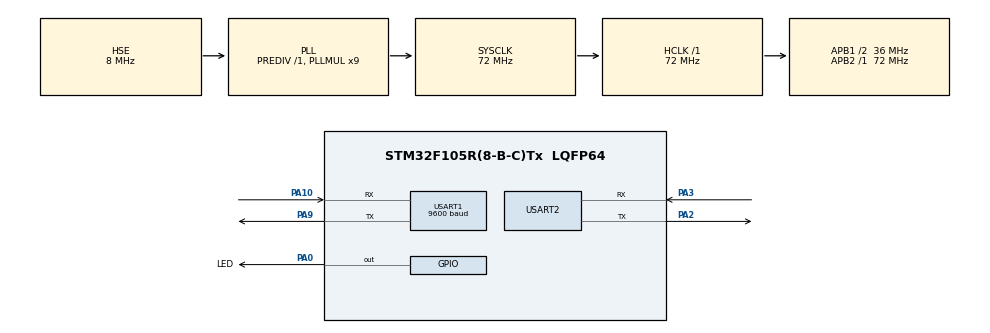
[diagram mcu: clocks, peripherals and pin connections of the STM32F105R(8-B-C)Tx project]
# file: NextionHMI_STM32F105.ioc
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Mcu.Family=STM32F1
Mcu.Name=STM32F105R(8-B-C)Tx
Mcu.Package=LQFP64
NVIC.PriorityGroup=NVIC_PRIORITYGROUP_4
NVIC.TIM7_IRQn=true\:0\:0\:false\:false\:true\:false
NVIC.TimeBase=TIM7_IRQn
NVIC.TimeBaseIP=TIM7
NVIC.USART1_IRQn=true\:0\:0\:false\:false\:true\:true
NVIC.USART2_IRQn=true\:0\:0\:false\:false\:true\:true
PA0-WKUP.GPIO_Label=LED
PA0-WKUP.Signal=GPIO_Output
PA10.Mode=Asynchronous
PA10.Signal=USART1_RX
PA13.Mode=JTAG_5_pins
PA13.Signal=SYS_JTMS-SWDIO
PA14.Mode=JTAG_5_pins
PA14.Signal=SYS_JTCK-SWCLK
PA15.Mode=JTAG_5_pins
PA15.Signal=SYS_JTDI
PA2.Mode=Asynchronous
PA2.Signal=USART2_TX
PA3.Mode=Asynchronous
PA3.Signal=USART2_RX
PA9.Mode=Asynchronous
PA9.Signal=USART1_TX
PB3.Mode=JTAG_5_pins
PB3.Signal=SYS_JTDO
PB4.Mode=JTAG_5_pins
PB4.Signal=SYS_NJTRST
PD0-OSC_IN.Mode=HSE-External-Oscillator
PD0-OSC_IN.Signal=RCC_OSC_IN
PD1-OSC_OUT.Mode=HSE-External-Oscillator
PD1-OSC_OUT.Signal=RCC_OSC_OUT
ProjectManager.HeapSize=0x200
ProjectManager.StackSize=0x400
ProjectManager.TargetToolchain=SW4STM32
RCC.AHBFreq_Value=72000000
RCC.APB1CLKDivider=RCC_HCLK_DIV2
RCC.APB1Freq_Value=36000000
RCC.APB1TimFreq_Value=72000000
RCC.APB2Freq_Value=72000000
RCC.APB2TimFreq_Value=72000000
RCC.HCLKFreq_Value=72000000
RCC.PLLMUL=RCC_PLL_MUL9
RCC.PLLSourceVirtual=RCC_PLLSOURCE_HSE
RCC.SYSCLKFreq_VALUE=72000000
RCC.SYSCLKSource=RCC_SYSCLKSOURCE_PLLCLK
RCC.USBFreq_Value=48000000
USART1.BaudRate=9600
USART1.VirtualMode=VM_ASYNC
USART2.VirtualMode=VM_ASYNC
VP_SYS_VS_tim7.Mode=TIM7
board=custom

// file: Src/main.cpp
/* USER CODE BEGIN Header */
/**
  ******************************************************************************
  * @file           : main.c
  * @brief          : Main program body
  ******************************************************************************
  ** This notice applies to any and all portions of this file
  * that are not between comment pairs USER CODE BEGIN and
  * USER CODE END. Other portions of this file, whether
  * inserted by the user or by software development tools
  * are owned by their respective copyright owners.
  *
  * COPYRIGHT(c) 2019 STMicroelectronics
  *
  * Redistribution and use in source and binary forms, with or without modification,
  * are permitted provided that the following conditions are met:
  *   1. Redistributions of source code must retain the above copyright notice,
  *      this list of conditions and the following disclaimer.
  *   2. Redistributions in binary form must reproduce the above copyright notice,
  *      this list of conditions and the following disclaimer in the documentation
  *      and/or other materials provided with the distribution.
  *   3. Neither the name of STMicroelectronics nor the names of its contributors
  *      may be used to endorse or promote products derived from this software
  *      without specific prior written permission.
  *
  * THIS SOFTWARE IS PROVIDED BY THE COPYRIGHT HOLDERS AND CONTRIBUTORS "AS IS"
  * AND ANY EXPRESS OR IMPLIED WARRANTIES, INCLUDING, BUT NOT LIMITED TO, THE
  * IMPLIED WARRANTIES OF MERCHANTABILITY AND FITNESS FOR A PARTICULAR PURPOSE ARE
  * DISCLAIMED. IN NO EVENT SHALL THE COPYRIGHT HOLDER OR CONTRIBUTORS BE LIABLE
  * FOR ANY DIRECT, INDIRECT, INCIDENTAL, SPECIAL, EXEMPLARY, OR CONSEQUENTIAL
  * DAMAGES (INCLUDING, BUT NOT LIMITED TO, PROCUREMENT OF SUBSTITUTE GOODS OR
  * SERVICES; LOSS OF USE, DATA, OR PROFITS; OR BUSINESS INTERRUPTION) HOWEVER
  * CAUSED AND ON ANY THEORY OF LIABILITY, WHETHER IN CONTRACT, STRICT LIABILITY,
  * OR TORT (INCLUDING NEGLIGENCE OR OTHERWISE) ARISING IN ANY WAY OUT OF THE USE
  * OF THIS SOFTWARE, EVEN IF ADVISED OF THE POSSIBILITY OF SUCH DAMAGE.
  *
  ******************************************************************************
  */
/* USER CODE END Header */

#include "main.h"

/* USER CODE BEGIN Includes */

#include <doxygen.h>
#include "NexButton.h"
#include <NexConfig.h>
#include <NexCrop.h>
#include <NexDualStateButton.h>
#include <NexGauge.h>
#include <NexGpio.h>
#include <NexHardware.h>
#include <NexHotspot.h>
#include <NexNumber.h>
#include <NexObject.h>
#include <NexPage.h>
#include <NexPicture.h>
#include <NexProgressBar.h>
#include <NexRadio.h>
#include <NexRtc.h>
#include <NexScrolltext.h>
#include <NexSlider.h>
#include <NexText.h>
#include <NexTimer.h>
#include <Nextion.h>
#include <NexTouch.h>
#include <NexVariable.h>
#include <NexWaveform.h>
#include <Serial.h>
#include "string.h"
/* USER CODE END Includes */

UART_HandleTypeDef huart1;
UART_HandleTypeDef huart2;

void SystemClock_Config(void);
static void MX_GPIO_Init(void);
static void MX_USART1_UART_Init(void);
static void MX_USART2_UART_Init(void);

/* USER CODE BEGIN 0 */

Serial* serial;

NexText* tStatus;
NexText* tMessage;
NexText* tMinute;
NexText* tSecond;
NexButton* bStart;
NexButton* bStop;

NexTouch* nex_listen_list[2];

//Usart RX Interrupt
void HAL_UART_RxCpltCallback(UART_HandleTypeDef *huart)
{
	if (huart->Instance == USART2)
	{
		if (serial != NULL)
		{
			serial->put(huart->Instance->DR);
		}
	}
}

void bOnPopCallback(void *ptr) {
  tStatus->setText("Islem baslatildi.");
  HAL_GPIO_WritePin(LED_GPIO_Port,LED_Pin,GPIO_PIN_SET);
}

void bOffPopCallback(void *ptr) {
  tStatus->setText("Islem sonlandirildi.");
  HAL_GPIO_WritePin(LED_GPIO_Port,LED_Pin,GPIO_PIN_RESET);
}

/* USER CODE END 0 */

int main(void)
{

  /* MCU Configuration--------------------------------------------------------*/

  /* Reset of all peripherals, Initializes the Flash interface and the Systick. */
  HAL_Init();

  /* Configure the system clock */
  SystemClock_Config();

  /* Initialize all configured peripherals */
  MX_GPIO_Init();
  MX_USART1_UART_Init();
  MX_USART2_UART_Init();
  /* USER CODE BEGIN 2 */

  serial = new Serial(&huart2,64);

  nexInit(serial);

  tStatus = new NexText(0, 8, "tStatus");
  tMessage = new NexText(0, 5, "tMessage");
  tMinute = new NexText(0, 1, "tMinute");
  tSecond = new NexText(0, 3, "tSecond");
  bStart = new NexButton(0, 6, "bStart");
  bStop = new NexButton(0, 7, "bStop");

  bStart->attachPop(bOnPopCallback, &bStart);
  bStop->attachPop(bOffPopCallback, &bStop);

  nex_listen_list[0] = bStart;
  nex_listen_list[1] = bStop;

  /* USER CODE END 2 */

  /* Infinite loop */
  while (1)
  {
	nexLoop(nex_listen_list);

/*
	if (serial->available()) {
		HAL_GPIO_WritePin(LED_GPIO_Port,LED_Pin,GPIO_PIN_SET);
		HAL_Delay(100);

		uint8_t x = serial->read();

		uint8_t data[10];

		memset(data,0,10);

		serial->readBytes(data,9);

		if (strcmp((char*) data,"123456789") == 0) {
			serial->write(50);
			serial->print("Test");
			serial->println();
			serial->println("TEST");
		}
	}
	else {
		HAL_GPIO_WritePin(LED_GPIO_Port,LED_Pin,GPIO_PIN_RESET);
	}
*/
  }
}

void SystemClock_Config(void)
{
  RCC_OscInitTypeDef RCC_OscInitStruct = {0};
  RCC_ClkInitTypeDef RCC_ClkInitStruct = {0};

  /**Initializes the CPU, AHB and APB busses clocks
  */
  RCC_OscInitStruct.OscillatorType = RCC_OSCILLATORTYPE_HSE;
  RCC_OscInitStruct.HSEState = RCC_HSE_ON;
  RCC_OscInitStruct.HSEPredivValue = RCC_HSE_PREDIV_DIV1;
  RCC_OscInitStruct.HSIState = RCC_HSI_ON;
  RCC_OscInitStruct.Prediv1Source = RCC_PREDIV1_SOURCE_HSE;
  RCC_OscInitStruct.PLL.PLLState = RCC_PLL_ON;
  RCC_OscInitStruct.PLL.PLLSource = RCC_PLLSOURCE_HSE;
  RCC_OscInitStruct.PLL.PLLMUL = RCC_PLL_MUL9;
  RCC_OscInitStruct.PLL2.PLL2State = RCC_PLL_NONE;
  if (HAL_RCC_OscConfig(&RCC_OscInitStruct) != HAL_OK)
  {
    Error_Handler();
  }
  /**Initializes the CPU, AHB and APB busses clocks
  */
  RCC_ClkInitStruct.ClockType = RCC_CLOCKTYPE_HCLK|RCC_CLOCKTYPE_SYSCLK
                              |RCC_CLOCKTYPE_PCLK1|RCC_CLOCKTYPE_PCLK2;
  RCC_ClkInitStruct.SYSCLKSource = RCC_SYSCLKSOURCE_PLLCLK;
  RCC_ClkInitStruct.AHBCLKDivider = RCC_SYSCLK_DIV1;
  RCC_ClkInitStruct.APB1CLKDivider = RCC_HCLK_DIV2;
  RCC_ClkInitStruct.APB2CLKDivider = RCC_HCLK_DIV1;

  if (HAL_RCC_ClockConfig(&RCC_ClkInitStruct, FLASH_LATENCY_2) != HAL_OK)
  {
    Error_Handler();
  }
  /**Configure the Systick interrupt time
  */
  __HAL_RCC_PLLI2S_ENABLE();
}

static void MX_USART1_UART_Init(void)
{

  huart1.Instance = USART1;
  huart1.Init.BaudRate = 9600;
  huart1.Init.WordLength = UART_WORDLENGTH_8B;
  huart1.Init.StopBits = UART_STOPBITS_1;
  huart1.Init.Parity = UART_PARITY_NONE;
  huart1.Init.Mode = UART_MODE_TX_RX;
  huart1.Init.HwFlowCtl = UART_HWCONTROL_NONE;
  huart1.Init.OverSampling = UART_OVERSAMPLING_16;
  if (HAL_UART_Init(&huart1) != HAL_OK)
  {
    Error_Handler();
  }

}

static void MX_USART2_UART_Init(void)
{

  huart2.Instance = USART2;
  huart2.Init.BaudRate = 9600;
  huart2.Init.WordLength = UART_WORDLENGTH_8B;
  huart2.Init.StopBits = UART_STOPBITS_1;
  huart2.Init.Parity = UART_PARITY_NONE;
  huart2.Init.Mode = UART_MODE_TX_RX;
  huart2.Init.HwFlowCtl = UART_HWCONTROL_NONE;
  huart2.Init.OverSampling = UART_OVERSAMPLING_16;
  if (HAL_UART_Init(&huart2) != HAL_OK)
  {
    Error_Handler();
  }

}

static void MX_GPIO_Init(void)
{
  GPIO_InitTypeDef GPIO_InitStruct = {0};

  /* GPIO Ports Clock Enable */
  __HAL_RCC_GPIOD_CLK_ENABLE();
  __HAL_RCC_GPIOA_CLK_ENABLE();
  __HAL_RCC_GPIOB_CLK_ENABLE();

  /*Configure GPIO pin Output Level */
  HAL_GPIO_WritePin(LED_GPIO_Port, LED_Pin, GPIO_PIN_RESET);

  /*Configure GPIO pin : LED_Pin */
  GPIO_InitStruct.Pin = LED_Pin;
  GPIO_InitStruct.Mode = GPIO_MODE_OUTPUT_PP;
  GPIO_InitStruct.Pull = GPIO_NOPULL;
  GPIO_InitStruct.Speed = GPIO_SPEED_FREQ_LOW;
  HAL_GPIO_Init(LED_GPIO_Port, &GPIO_InitStruct);

}

void HAL_TIM_PeriodElapsedCallback(TIM_HandleTypeDef *htim)
{
  if (htim->Instance == TIM7) {
    HAL_IncTick();
  }
}

void Error_Handler(void)
{
}

/************************ (C) COPYRIGHT STMicroelectronics *****END OF FILE****/
